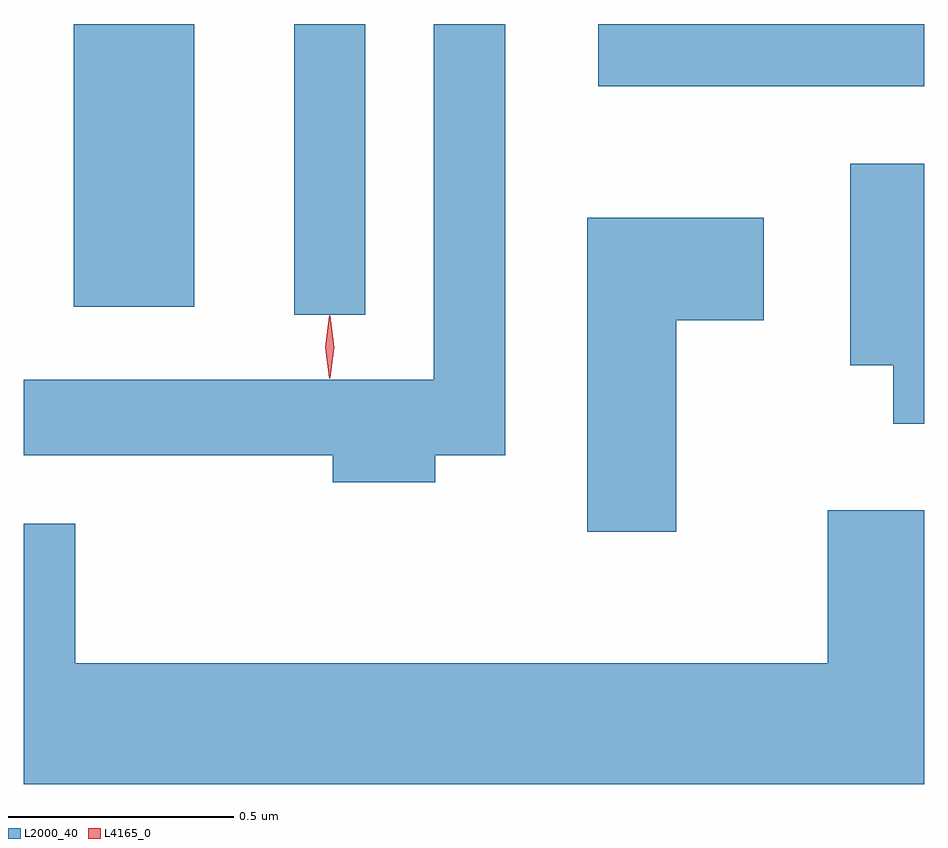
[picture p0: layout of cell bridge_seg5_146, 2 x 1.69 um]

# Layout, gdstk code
import gdstk
lib = gdstk.Library(unit=1e-6, precision=1e-09)
def R(c, l, rs):  # rectangles x0, y0, x1, y1
    for r in rs: c.add(gdstk.rectangle(r[:2], r[2:], *l))
def P(c, l, *ps):  # polygons
    for p in ps: c.add(gdstk.Polygon(p, *l))
L2000_40 = (2000, 40)
L4165_0 = (4165, 0)

bridge_seg5_146 = lib.new_cell('bridge_seg5_146')
R(bridge_seg5_146, L2000_40, [(1158.886,1415.658,1159.044,1416.304), (1158.396,1415.676,1158.664,1416.304), (1159.561,1416.166,1160.285,1416.304)])
P(bridge_seg5_146, L2000_40, [(1159.199,1415.346),(1159.354,1415.346),(1159.354,1416.304),(1159.196,1416.304),(1159.196,1415.514),(1158.285,1415.514),(1158.285,1415.346),(1158.971,1415.346),(1158.971,1415.286),(1159.199,1415.286)],
  [(1160.285,1415.994),(1160.121,1415.994),(1160.121,1415.546),(1160.216,1415.546),(1160.216,1415.416),(1160.285,1415.416)],
  [(1159.734,1415.646),(1159.929,1415.646),(1159.929,1415.874),(1159.536,1415.874),(1159.536,1415.176),(1159.734,1415.176)],
  [(1160.285,1415.224),(1160.071,1415.224),(1160.071,1414.884),(1158.399,1414.884),(1158.399,1415.194),(1158.285,1415.194),(1158.285,1414.616),(1160.285,1414.616)])
P(bridge_seg5_146, L4165_0, [(1158.964,1415.517),(1158.955,1415.586),(1158.964,1415.656),(1158.965,1415.656),(1158.966,1415.656),(1158.975,1415.586),(1158.966,1415.517),(1158.965,1415.517)])

lib.write_gds('bridge_seg5_146.gds')
